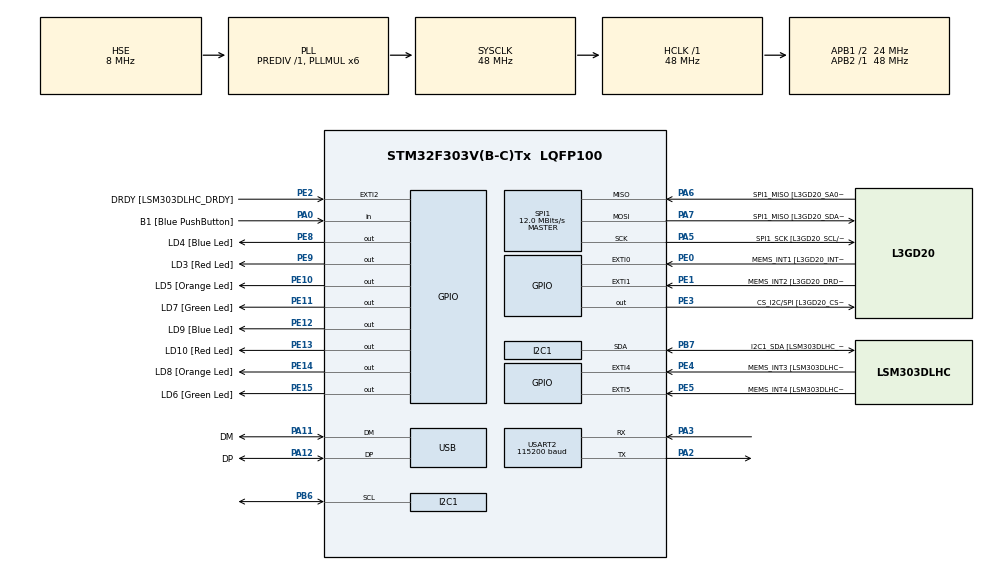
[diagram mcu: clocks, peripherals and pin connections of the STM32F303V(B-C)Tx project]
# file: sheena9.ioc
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I2C1.Timing=0x00201D2B
Mcu.Family=STM32F3
Mcu.Name=STM32F303V(B-C)Tx
Mcu.Package=LQFP100
NVIC.PriorityGroup=NVIC_PRIORITYGROUP_0
PA0.GPIO_Label=B1 [Blue PushButton]
PA0.Signal=GPIO_Input
PA11.GPIO_Label=DM
PA11.Mode=Device
PA11.Signal=USB_DM
PA12.GPIO_Label=DP
PA12.Mode=Device
PA12.Signal=USB_DP
PA13.GPIO_Label=SWDIO
PA13.Mode=Serial_Wire
PA13.Signal=SYS_JTMS-SWDIO
PA14.GPIO_Label=SWCLK
PA14.Mode=Serial_Wire
PA14.Signal=SYS_JTCK-SWCLK
PA2.Mode=Asynchronous
PA2.Signal=USART2_TX
PA3.Mode=Asynchronous
PA3.Signal=USART2_RX
PA5.GPIO_Label=SPI1_SCK [L3GD20_SCL/SPC]
PA5.Mode=Full_Duplex_Master
PA5.Signal=SPI1_SCK
PA6.GPIO_Label=SPI1_MISO [L3GD20_SA0/SDO]
PA6.Mode=Full_Duplex_Master
PA6.Signal=SPI1_MISO
PA7.GPIO_Label=SPI1_MISO [L3GD20_SDA/SDI/SDO]
PA7.Mode=Full_Duplex_Master
PA7.Signal=SPI1_MOSI
PB3.GPIO_Label=SWO
PB3.Signal=SYS_JTDO-TRACESWO
PB6.Mode=I2C
PB6.Signal=I2C1_SCL
PB7.GPIO_Label=I2C1_SDA [LSM303DLHC_SDA]
PB7.GPIO_Pu=GPIO_PULLUP
PB7.Mode=I2C
PB7.Signal=I2C1_SDA
PC14-OSC32_IN.GPIO_Label=OSC32_IN
PC14-OSC32_IN.Signal=RCC_OSC32_IN
PC15-OSC32_OUT.GPIO_Label=OSC32_OUT
PC15-OSC32_OUT.Signal=RCC_OSC32_OUT
PE0.GPIO_Label=MEMS_INT1 [L3GD20_INT1]
PE0.GPIO_ModeDefaultEXTI=GPIO_MODE_EVT_RISING
PE0.Signal=GPXTI0
PE1.GPIO_Label=MEMS_INT2 [L3GD20_DRDY/INT2]
PE1.GPIO_ModeDefaultEXTI=GPIO_MODE_EVT_RISING
PE1.Signal=GPXTI1
PE10.GPIO_Label=LD5 [Orange Led]
PE10.Signal=GPIO_Output
PE11.GPIO_Label=LD7 [Green Led]
PE11.Signal=GPIO_Output
PE12.GPIO_Label=LD9 [Blue Led]
PE12.Signal=GPIO_Output
PE13.GPIO_Label=LD10 [Red Led]
PE13.Signal=GPIO_Output
PE14.GPIO_Label=LD8 [Orange Led]
PE14.Signal=GPIO_Output
PE15.GPIO_Label=LD6 [Green Led]
PE15.Signal=GPIO_Output
PE2.GPIO_Label=DRDY [LSM303DLHC_DRDY]
PE2.GPIO_ModeDefaultEXTI=GPIO_MODE_EVT_RISING
PE2.Signal=GPXTI2
PE3.GPIO_Label=CS_I2C/SPI [L3GD20_CS_I2C/SPI]
PE3.Signal=GPIO_Output
PE4.GPIO_Label=MEMS_INT3 [LSM303DLHC_INT1]
PE4.GPIO_ModeDefaultEXTI=GPIO_MODE_EVT_RISING
PE4.Signal=GPXTI4
PE5.GPIO_Label=MEMS_INT4 [LSM303DLHC_INT2]
PE5.GPIO_ModeDefaultEXTI=GPIO_MODE_EVT_RISING
PE5.Signal=GPXTI5
PE8.GPIO_Label=LD4 [Blue Led]
PE8.Signal=GPIO_Output
PE9.GPIO_Label=LD3 [Red Led]
PE9.Signal=GPIO_Output
PF0-OSC_IN.GPIO_Label=OSC_IN
PF0-OSC_IN.Mode=HSE-External-Clock-Source
PF0-OSC_IN.Signal=RCC_OSC_IN
PF1-OSC_OUT.GPIO_Label=OSC_OUT
PF1-OSC_OUT.Signal=RCC_OSC_OUT
ProjectManager.HeapSize=0x200
ProjectManager.StackSize=0x400
ProjectManager.TargetToolchain=CMake
RCC.AHBFreq_Value=48000000
RCC.APB1CLKDivider=RCC_HCLK_DIV2
RCC.APB1Freq_Value=24000000
RCC.APB1TimFreq_Value=48000000
RCC.APB2Freq_Value=48000000
RCC.APB2TimFreq_Value=48000000
RCC.CortexFreq_Value=48000000
RCC.HCLKFreq_Value=48000000
RCC.HSE_VALUE=8000000
RCC.HSI_VALUE=8000000
RCC.LSE_VALUE=32768
RCC.PLLMUL=RCC_PLL_MUL6
RCC.SYSCLKFreq_VALUE=48000000
RCC.SYSCLKSourceVirtual=RCC_SYSCLKSOURCE_PLLCLK
RCC.USBFreq_Value=48000000
SPI1.BaudRatePrescaler=SPI_BAUDRATEPRESCALER_4
SPI1.BaudRatePrescaler-Full_Duplex_Master=SPI_BAUDRATEPRESCALER_2
SPI1.CalculateBaudRate=12.0 MBits/s
SPI1.CalculateBaudRate-Full_Duplex_Master=24.0 MBits/s
SPI1.Direction=SPI_DIRECTION_2LINES
SPI1.Mode=SPI_MODE_MASTER
SPI1.Mode-Full_Duplex_Master=SPI_MODE_MASTER
SPI1.VirtualType=VM_MASTER
USART2.BaudRate=115200
USART2.VirtualMode-Asynchronous=VM_ASYNC
board=STM32F3DISCOVERY

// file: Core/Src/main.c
/* USER CODE BEGIN Header */
/**
  ******************************************************************************
  * @file           : main.c
  * @brief          : Main program body
  ******************************************************************************
  * @attention
  *
  * Copyright (c) 2025 STMicroelectronics.
  * All rights reserved.
  *
  * This software is licensed under terms that can be found in the LICENSE file
  * in the root directory of this software component.
  * If no LICENSE file comes with this software, it is provided AS-IS.
  *
  ******************************************************************************
  */
/* USER CODE END Header */
#include "main.h"
#include <stdio.h>
#include <string.h>

I2C_HandleTypeDef hi2c1;

SPI_HandleTypeDef hspi1;

UART_HandleTypeDef huart2;

PCD_HandleTypeDef hpcd_USB_FS;

/* USER CODE BEGIN PV */
#define USE_LSM303AGR 1

// LSM303AGR Accelerometer (I2C 7-bit address 0x19)
#define LSM303AGR_A_I2C_ADDR7     0x19
#define LSM303AGR_A_WHO_AM_I_REG  0x0F
#define LSM303AGR_A_WHO_AM_I_VAL  0x33

static uint8_t i2c_data;
static char    txbuf[64];
/* USER CODE END PV */

void SystemClock_Config(void);
static void MX_GPIO_Init(void);
static void MX_I2C1_Init(void);
static void MX_SPI1_Init(void);
static void MX_USART2_UART_Init(void);
static void MX_USB_PCD_Init(void);
/* USER CODE BEGIN PFP */
static void uart_print(const char *s) {
  HAL_UART_Transmit(&huart2, (uint8_t*)s, (uint16_t)strlen(s), HAL_MAX_DELAY);
}
static void uart_println(const char *s) {
  uart_print(s);
  uart_print("\r\n");
}
/* USER CODE END PFP */

int main(void)
{

  /* MCU Configuration--------------------------------------------------------*/

  /* Reset of all peripherals, Initializes the Flash interface and the Systick. */
  HAL_Init();

  /* Configure the system clock */
  SystemClock_Config();

  /* Initialize all configured peripherals */
  MX_GPIO_Init();
  MX_I2C1_Init();
  MX_SPI1_Init();
  MX_USART2_UART_Init();
  MX_USB_PCD_Init();
  /* USER CODE BEGIN 2 */
  const uint16_t devAddr = (LSM303AGR_A_I2C_ADDR7 << 1);
  const uint8_t  whoReg  = LSM303AGR_A_WHO_AM_I_REG;
  const uint8_t  expect  = LSM303AGR_A_WHO_AM_I_VAL;
  uart_println("Sensor: LSM303AGR (Accelerometer)");
  /* USER CODE END 2 */

  /* Infinite loop */
  while (1)
  {
    if (HAL_I2C_Mem_Read(&hi2c1,
                         devAddr,
                         whoReg,
                         I2C_MEMADD_SIZE_8BIT,
                         &i2c_data,
                         1,
                         HAL_MAX_DELAY) == HAL_OK)
    {
      snprintf(txbuf, sizeof(txbuf),
               "WHO_AM_I[0x%02X] = 0x%02X  %s",
               whoReg, i2c_data,
               (i2c_data == expect) ? "[OK]" : "[MISMATCH]");
      uart_println(txbuf);
    }
    else
    {
      uart_println("I2C read failed.");
    }

    HAL_Delay(1000);
  }
}

void SystemClock_Config(void)
{
  RCC_OscInitTypeDef RCC_OscInitStruct = {0};
  RCC_ClkInitTypeDef RCC_ClkInitStruct = {0};
  RCC_PeriphCLKInitTypeDef PeriphClkInit = {0};

  /** Initializes the RCC Oscillators according to the specified parameters
  * in the RCC_OscInitTypeDef structure.
  */
  RCC_OscInitStruct.OscillatorType = RCC_OSCILLATORTYPE_HSI|RCC_OSCILLATORTYPE_HSE;
  RCC_OscInitStruct.HSEState = RCC_HSE_BYPASS;
  RCC_OscInitStruct.HSEPredivValue = RCC_HSE_PREDIV_DIV1;
  RCC_OscInitStruct.HSIState = RCC_HSI_ON;
  RCC_OscInitStruct.HSICalibrationValue = RCC_HSICALIBRATION_DEFAULT;
  RCC_OscInitStruct.PLL.PLLState = RCC_PLL_ON;
  RCC_OscInitStruct.PLL.PLLSource = RCC_PLLSOURCE_HSE;
  RCC_OscInitStruct.PLL.PLLMUL = RCC_PLL_MUL6;
  if (HAL_RCC_OscConfig(&RCC_OscInitStruct) != HAL_OK)
  {
    Error_Handler();
  }

  /** Initializes the CPU, AHB and APB buses clocks
  */
  RCC_ClkInitStruct.ClockType = RCC_CLOCKTYPE_HCLK|RCC_CLOCKTYPE_SYSCLK
                              |RCC_CLOCKTYPE_PCLK1|RCC_CLOCKTYPE_PCLK2;
  RCC_ClkInitStruct.SYSCLKSource = RCC_SYSCLKSOURCE_PLLCLK;
  RCC_ClkInitStruct.AHBCLKDivider = RCC_SYSCLK_DIV1;
  RCC_ClkInitStruct.APB1CLKDivider = RCC_HCLK_DIV2;
  RCC_ClkInitStruct.APB2CLKDivider = RCC_HCLK_DIV1;

  if (HAL_RCC_ClockConfig(&RCC_ClkInitStruct, FLASH_LATENCY_1) != HAL_OK)
  {
    Error_Handler();
  }
  PeriphClkInit.PeriphClockSelection = RCC_PERIPHCLK_USB|RCC_PERIPHCLK_USART2
                              |RCC_PERIPHCLK_I2C1;
  PeriphClkInit.Usart2ClockSelection = RCC_USART2CLKSOURCE_PCLK1;
  PeriphClkInit.I2c1ClockSelection = RCC_I2C1CLKSOURCE_HSI;
  PeriphClkInit.USBClockSelection = RCC_USBCLKSOURCE_PLL;
  if (HAL_RCCEx_PeriphCLKConfig(&PeriphClkInit) != HAL_OK)
  {
    Error_Handler();
  }
}

static void MX_I2C1_Init(void)
{

  hi2c1.Instance = I2C1;
  hi2c1.Init.Timing = 0x00201D2B;
  hi2c1.Init.OwnAddress1 = 0;
  hi2c1.Init.AddressingMode = I2C_ADDRESSINGMODE_7BIT;
  hi2c1.Init.DualAddressMode = I2C_DUALADDRESS_DISABLE;
  hi2c1.Init.OwnAddress2 = 0;
  hi2c1.Init.OwnAddress2Masks = I2C_OA2_NOMASK;
  hi2c1.Init.GeneralCallMode = I2C_GENERALCALL_DISABLE;
  hi2c1.Init.NoStretchMode = I2C_NOSTRETCH_DISABLE;
  if (HAL_I2C_Init(&hi2c1) != HAL_OK)
  {
    Error_Handler();
  }

  /** Configure Analogue filter
  */
  if (HAL_I2CEx_ConfigAnalogFilter(&hi2c1, I2C_ANALOGFILTER_ENABLE) != HAL_OK)
  {
    Error_Handler();
  }

  /** Configure Digital filter
  */
  if (HAL_I2CEx_ConfigDigitalFilter(&hi2c1, 0) != HAL_OK)
  {
    Error_Handler();
  }

}

static void MX_SPI1_Init(void)
{

  /* SPI1 parameter configuration*/
  hspi1.Instance = SPI1;
  hspi1.Init.Mode = SPI_MODE_MASTER;
  hspi1.Init.Direction = SPI_DIRECTION_2LINES;
  hspi1.Init.DataSize = SPI_DATASIZE_4BIT;
  hspi1.Init.CLKPolarity = SPI_POLARITY_LOW;
  hspi1.Init.CLKPhase = SPI_PHASE_1EDGE;
  hspi1.Init.NSS = SPI_NSS_SOFT;
  hspi1.Init.BaudRatePrescaler = SPI_BAUDRATEPRESCALER_4;
  hspi1.Init.FirstBit = SPI_FIRSTBIT_MSB;
  hspi1.Init.TIMode = SPI_TIMODE_DISABLE;
  hspi1.Init.CRCCalculation = SPI_CRCCALCULATION_DISABLE;
  hspi1.Init.CRCPolynomial = 7;
  hspi1.Init.CRCLength = SPI_CRC_LENGTH_DATASIZE;
  hspi1.Init.NSSPMode = SPI_NSS_PULSE_ENABLE;
  if (HAL_SPI_Init(&hspi1) != HAL_OK)
  {
    Error_Handler();
  }

}

static void MX_USART2_UART_Init(void)
{

  huart2.Instance = USART2;
  huart2.Init.BaudRate = 115200;
  huart2.Init.WordLength = UART_WORDLENGTH_8B;
  huart2.Init.StopBits = UART_STOPBITS_1;
  huart2.Init.Parity = UART_PARITY_NONE;
  huart2.Init.Mode = UART_MODE_TX_RX;
  huart2.Init.HwFlowCtl = UART_HWCONTROL_NONE;
  huart2.Init.OverSampling = UART_OVERSAMPLING_16;
  huart2.Init.OneBitSampling = UART_ONE_BIT_SAMPLE_DISABLE;
  huart2.AdvancedInit.AdvFeatureInit = UART_ADVFEATURE_NO_INIT;
  if (HAL_UART_Init(&huart2) != HAL_OK)
  {
    Error_Handler();
  }

}

static void MX_USB_PCD_Init(void)
{

  hpcd_USB_FS.Instance = USB;
  hpcd_USB_FS.Init.dev_endpoints = 8;
  hpcd_USB_FS.Init.speed = PCD_SPEED_FULL;
  hpcd_USB_FS.Init.phy_itface = PCD_PHY_EMBEDDED;
  hpcd_USB_FS.Init.low_power_enable = DISABLE;
  hpcd_USB_FS.Init.battery_charging_enable = DISABLE;
  if (HAL_PCD_Init(&hpcd_USB_FS) != HAL_OK)
  {
    Error_Handler();
  }

}

static void MX_GPIO_Init(void)
{
  GPIO_InitTypeDef GPIO_InitStruct = {0};

  /* GPIO Ports Clock Enable */
  __HAL_RCC_GPIOE_CLK_ENABLE();
  __HAL_RCC_GPIOC_CLK_ENABLE();
  __HAL_RCC_GPIOF_CLK_ENABLE();
  __HAL_RCC_GPIOA_CLK_ENABLE();
  __HAL_RCC_GPIOB_CLK_ENABLE();

  /*Configure GPIO pin Output Level */
  HAL_GPIO_WritePin(GPIOE, CS_I2C_SPI_Pin|LD4_Pin|LD3_Pin|LD5_Pin
                          |LD7_Pin|LD9_Pin|LD10_Pin|LD8_Pin
                          |LD6_Pin, GPIO_PIN_RESET);

  /*Configure GPIO pins : DRDY_Pin MEMS_INT3_Pin MEMS_INT4_Pin MEMS_INT1_Pin
                           MEMS_INT2_Pin */
  GPIO_InitStruct.Pin = DRDY_Pin|MEMS_INT3_Pin|MEMS_INT4_Pin|MEMS_INT1_Pin
                          |MEMS_INT2_Pin;
  GPIO_InitStruct.Mode = GPIO_MODE_EVT_RISING;
  GPIO_InitStruct.Pull = GPIO_NOPULL;
  HAL_GPIO_Init(GPIOE, &GPIO_InitStruct);

  /*Configure GPIO pins : CS_I2C_SPI_Pin LD4_Pin LD3_Pin LD5_Pin
                           LD7_Pin LD9_Pin LD10_Pin LD8_Pin
                           LD6_Pin */
  GPIO_InitStruct.Pin = CS_I2C_SPI_Pin|LD4_Pin|LD3_Pin|LD5_Pin
                          |LD7_Pin|LD9_Pin|LD10_Pin|LD8_Pin
                          |LD6_Pin;
  GPIO_InitStruct.Mode = GPIO_MODE_OUTPUT_PP;
  GPIO_InitStruct.Pull = GPIO_NOPULL;
  GPIO_InitStruct.Speed = GPIO_SPEED_FREQ_LOW;
  HAL_GPIO_Init(GPIOE, &GPIO_InitStruct);

  /*Configure GPIO pin : B1_Pin */
  GPIO_InitStruct.Pin = B1_Pin;
  GPIO_InitStruct.Mode = GPIO_MODE_INPUT;
  GPIO_InitStruct.Pull = GPIO_NOPULL;
  HAL_GPIO_Init(B1_GPIO_Port, &GPIO_InitStruct);

}

void Error_Handler(void)
{
  __disable_irq();
  while (1)
  {
  }
}
